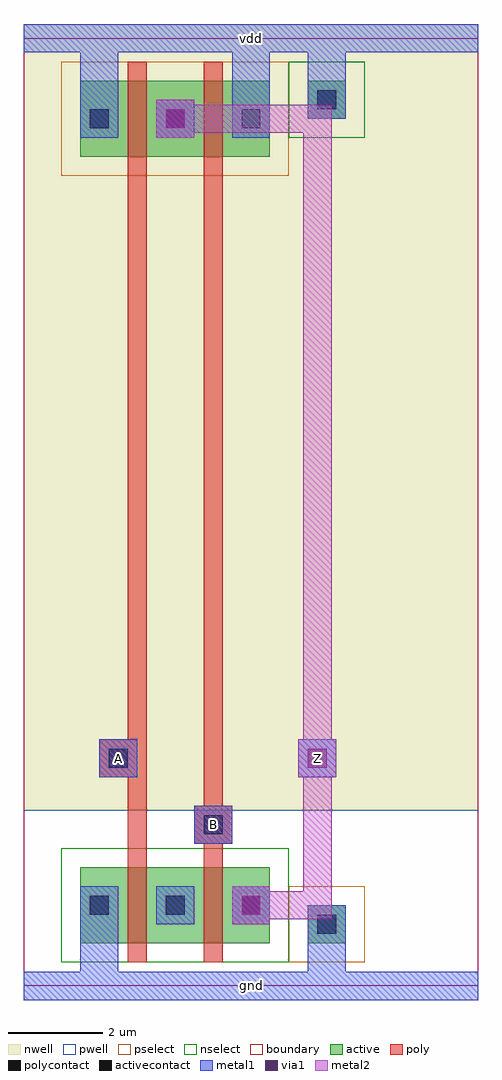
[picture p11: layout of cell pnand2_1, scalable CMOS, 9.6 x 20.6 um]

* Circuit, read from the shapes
.subckt pnand2_1 A B Z gnd vdd
M1 nmos_m1_w1_600_a_p_2/D A gnd gnd nfet w=1.6u l=0.4u
M2 Z B nmos_m1_w1_600_a_p_2/D gnd nfet w=1.6u l=0.4u
M3 Z A vdd vdd pfet w=1.6u l=0.4u
M4 vdd B Z vdd pfet w=1.6u l=0.4u
.ends

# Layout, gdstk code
import gdstk
lib = gdstk.Library(unit=1e-6, precision=1e-09)
def R(c, l, rs):  # rectangles x0, y0, x1, y1
    for r in rs: c.add(gdstk.rectangle(r[:2], r[2:], *l))
pwell = (41, 0)
nwell = (42, 0)
active = (43, 0)
pselect = (44, 0)
nselect = (45, 0)
poly = (46, 0)
polycontact = (47, 0)
activecontact = (48, 0)
metal1 = (49, 0)
via1 = (50, 0)
metal2 = (51, 0)
boundary = (63, 0)

contact_9 = lib.new_cell('contact_9')
R(contact_9, nwell, [(-1.2,-1.2,2,2)])
R(contact_9, active, [(0,0,0.8,0.8)])
R(contact_9, pselect, [(-0.4,-0.4,1.2,1.2)])
R(contact_9, activecontact, [(0.2,0.2,0.6,0.6)])
R(contact_9, metal1, [(0,0,0.8,0.8)])

pmos_m1_w1_600_a_p = lib.new_cell('pmos_m1_w1_600_a_p')
R(pmos_m1_w1_600_a_p, nwell, [(-1.2,-1.2,3.6,2.8)])
R(pmos_m1_w1_600_a_p, active, [(0,0,2.4,1.6)])
R(pmos_m1_w1_600_a_p, pselect, [(-0.4,-0.4,2.8,2)])
R(pmos_m1_w1_600_a_p, poly, [(1,-0.4,1.4,2), (1,-0.4,1.4,2)])
R(pmos_m1_w1_600_a_p, metal1, [(0,0.4,0.8,1.2), (1.6,0.4,2.4,1.2)])
pmos_m1_w1_600_a_p.add(gdstk.Reference(contact_9, (0,0.4)))
pmos_m1_w1_600_a_p.add(gdstk.Reference(contact_9, (1.6,0.4)))
pmos_m1_w1_600_a_p.add(gdstk.Label('G', (1.2,0.8), layer=46, texttype=0))
pmos_m1_w1_600_a_p.add(gdstk.Label('S', (0.4,0.8), layer=49, texttype=0))
pmos_m1_w1_600_a_p.add(gdstk.Label('D', (2,0.8), layer=49, texttype=0))

contact_14 = lib.new_cell('contact_14')
R(contact_14, pwell, [(-1.2,-1.2,2,2)])
R(contact_14, active, [(0,0,0.8,0.8)])
R(contact_14, nselect, [(-0.4,-0.4,1.2,1.2)])
R(contact_14, activecontact, [(0.2,0.2,0.6,0.6)])
R(contact_14, metal1, [(0,0,0.8,0.8)])

nmos_m1_w1_600_a_p = lib.new_cell('nmos_m1_w1_600_a_p')
R(nmos_m1_w1_600_a_p, pwell, [(-1.2,-1.2,3.6,2.8)])
R(nmos_m1_w1_600_a_p, active, [(0,0,2.4,1.6)])
R(nmos_m1_w1_600_a_p, nselect, [(-0.4,-0.4,2.8,2)])
R(nmos_m1_w1_600_a_p, poly, [(1,-0.4,1.4,2), (1,-0.4,1.4,2)])
R(nmos_m1_w1_600_a_p, metal1, [(0,0.4,0.8,1.2), (1.6,0.4,2.4,1.2)])
nmos_m1_w1_600_a_p.add(gdstk.Reference(contact_14, (0,0.4)))
nmos_m1_w1_600_a_p.add(gdstk.Reference(contact_14, (1.6,0.4)))
nmos_m1_w1_600_a_p.add(gdstk.Label('G', (1.2,0.8), layer=46, texttype=0))
nmos_m1_w1_600_a_p.add(gdstk.Label('S', (0.4,0.8), layer=49, texttype=0))
nmos_m1_w1_600_a_p.add(gdstk.Label('D', (2,0.8), layer=49, texttype=0))

contact_15 = lib.new_cell('contact_15')
R(contact_15, nwell, [(-1.2,-1.2,2,2)])
R(contact_15, active, [(0,0,0.8,0.8)])
R(contact_15, nselect, [(-0.4,-0.4,1.2,1.2)])
R(contact_15, activecontact, [(0.2,0.2,0.6,0.6)])
R(contact_15, metal1, [(0,0,0.8,0.8)])

contact_16 = lib.new_cell('contact_16')
R(contact_16, pwell, [(-1.2,-1.2,2,2)])
R(contact_16, active, [(0,0,0.8,0.8)])
R(contact_16, pselect, [(-0.4,-0.4,1.2,1.2)])
R(contact_16, activecontact, [(0.2,0.2,0.6,0.6)])
R(contact_16, metal1, [(0,0,0.8,0.8)])

contact_10 = lib.new_cell('contact_10')
R(contact_10, poly, [(0,0,0.8,0.8)])
R(contact_10, polycontact, [(0.2,0.2,0.6,0.6)])
R(contact_10, metal1, [(0,0,0.8,0.8)])

contact_17 = lib.new_cell('contact_17')
R(contact_17, metal1, [(0,0,0.8,0.8)])
R(contact_17, via1, [(0.2,0.2,0.6,0.6)])
R(contact_17, metal2, [(0,0,0.8,0.8)])

contact_18 = lib.new_cell('contact_18')
R(contact_18, metal1, [(0,0,0.8,0.8)])
R(contact_18, via1, [(0.2,0.2,0.6,0.6)])
R(contact_18, metal2, [(0,0,0.8,0.8)])

pnand2_1 = lib.new_cell('pnand2_1')
R(pnand2_1, pwell, [(0,-0.3,9.6,3.7)])
R(pnand2_1, nwell, [(0,3.7,9.6,20.3)])
R(pnand2_1, poly, [(2.2,0.5,2.6,17.1), (3.8,0.5,4.2,17.1), (3.8,3,4,3.8), (2,4.4,2.2,5.2)])
R(pnand2_1, metal1, [(0,-0.3,9.6,0.3), (1.2,-0.3,2,1.3), (6,0,6.8,1.3), (3.6,3,4.4,3.8), (1.6,4.4,2.4,5.2), (5.8,4.4,6.6,5.2), (1.2,17.9,2,20.3), (4.4,17.9,5.2,20.3), (6,18.7,6.8,20), (0,19.7,9.6,20.3)])
R(pnand2_1, metal2, [(4.8,1.4,6.2,2), (5.9,1.4,6.5,2), (5.9,1.7,6.5,4.8), (5.9,4.8,6.5,18.3), (3.2,18,6.2,18.6), (5.9,18,6.5,18.6)])
R(pnand2_1, boundary, [(0,0,9.6,20)])
pnand2_1.add(gdstk.Reference(pmos_m1_w1_600_a_p, (1.2,17.5)))
pnand2_1.add(gdstk.Reference(pmos_m1_w1_600_a_p, (2.8,17.5)))
pnand2_1.add(gdstk.Reference(nmos_m1_w1_600_a_p, (1.2,0.9)))
pnand2_1.add(gdstk.Reference(nmos_m1_w1_600_a_p, (2.8,0.9)))
pnand2_1.add(gdstk.Reference(contact_15, (6,18.3)))
pnand2_1.add(gdstk.Reference(contact_16, (6,0.9)))
pnand2_1.add(gdstk.Reference(contact_10, (3.6,3)))
pnand2_1.add(gdstk.Reference(contact_10, (1.6,4.4)))
pnand2_1.add(gdstk.Reference(contact_17, (2.8,17.9)))
pnand2_1.add(gdstk.Reference(contact_17, (4.4,1.3)))
pnand2_1.add(gdstk.Reference(contact_18, (5.8,4.4)))
pnand2_1.add(gdstk.Label('gnd', (4.8,0), layer=49, texttype=0))
pnand2_1.add(gdstk.Label('vdd', (4.8,20), layer=49, texttype=0))
pnand2_1.add(gdstk.Label('B', (4,3.4), layer=49, texttype=0))
pnand2_1.add(gdstk.Label('A', (2,4.8), layer=49, texttype=0))
pnand2_1.add(gdstk.Label('Z', (6.2,4.8), layer=49, texttype=0))

lib.write_gds('pnand2_1.gds')
